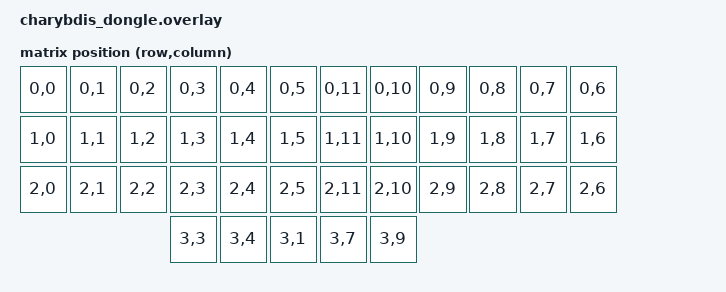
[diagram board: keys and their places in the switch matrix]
// Documentation: https://zmk.dev/docs/development/hardware-integration/dongle
#include <dt-bindings/zmk/matrix_transform.h>
#include "../../config/charybdis-layouts.dtsi"

&charybdis_physical_layout {
    transform = <&default_transform>;
};

/ {
    chosen {
        zmk,kscan           = &kscan0;
        zmk,physical-layout = &charybdis_physical_layout;
        zmk,input-device    = &trackball_split;
        zephyr,display      = &oled;
    };

    kscan0: kscan_1 {
        compatible = "zmk,kscan-mock";
        columns    = <0>;
        rows       = <0>;
        events     = <0>;
    };

    default_transform: keymap_transform_0 {
        compatible = "zmk,matrix-transform";
        columns = <12>;
        rows = <4>;

        map = <
	RC(0,0) RC(0,1) RC(0,2) RC(0,3) RC(0,4) RC(0,5)  RC(0,11) RC(0,10) RC(0,9) RC(0,8) RC(0,7) RC(0,6)
	RC(1,0) RC(1,1) RC(1,2) RC(1,3) RC(1,4) RC(1,5)  RC(1,11) RC(1,10) RC(1,9) RC(1,8) RC(1,7) RC(1,6)
	RC(2,0) RC(2,1) RC(2,2) RC(2,3) RC(2,4) RC(2,5)  RC(2,11) RC(2,10) RC(2,9) RC(2,8) RC(2,7) RC(2,6)
							RC(3,3) RC(3,4) RC(3,1)  RC(3,7)  RC(3,9)
        >;
    };

    central: bt_central {
        compatible = "zmk,ble-central";
        peripherals = <&left_peripheral &right_peripheral>;
    };

    left_peripheral: bt_left {
        compatible = "zmk,ble-peripheral";
        local-name = "charybdis_left";
    };

    right_peripheral: bt_right {
        compatible = "zmk,ble-peripheral";
        local-name = "charybdis_right";
    };

    /* The dongle is the central - it receives trackball data over BLE from the
       right peripheral via zmk,input-split. No SPI or PMW3610 hardware here. */
    split_inputs {
        #address-cells = <1>;
        #size-cells = <0>;

        trackball_split: trackball_split@0 {
            compatible = "zmk,input-split";
            reg = <0>;
        };
    };

    trackball_listener: trackball_listener {
        compatible = "zmk,input-listener";
        status = "disabled";
        device = <&trackball_split>;
    };
};

/* OLED SSD1306 0.96" 128x64 no i2c1 do XIAO BLE (D4=SDA/P0.04, D5=SCL/P0.05):
     VCC -> 3V3, GND -> GND, SDA -> D4, SCL -> D5. Addr 0x3C.
   Bus a 100kHz (default) — 400kHz sobre jumper wires fazia o init falhar.
   ready-time-ms=50 absorve o inrush do charge pump no boot.

   ⚠ HISTÓRICO (bug-024/025 no buglog): o display SÓ funciona com
   CONFIG_LV_COLOR_DEPTH_1 + CONFIG_LV_Z_BITS_PER_PIXEL=1 no .conf.
   Sem isso, o LVGL renderiza 16bpp num glue mono de 1bpp → overflow →
   hard fault → MCU inteiro congela (USB nem responde descriptor, teclado
   morre) e a tela fica em "estática" eterna. NÃO é problema do módulo,
   da fiação, nem do periférico I2C — bisseção completa documentada no
   buglog. Receita LVGL completa: ver seção Display no .conf. */
&i2c1 {
    status = "okay";

    oled: ssd1306@3c {
        compatible = "solomon,ssd1306fb";
        reg = <0x3c>;
        width = <128>;
        height = <64>;
        segment-offset = <0>;
        page-offset = <0>;
        display-offset = <0>;
        multiplex-ratio = <63>;
        prechargep = <0x22>;
        ready-time-ms = <50>;
        segment-remap;
        com-invdir;
    };
};

/* charybdis_pointer.dtsi references &trackball_listener - must come after node definition */
#include "../../config/trackball/charybdis_pointer.dtsi"

&trackball_split {
    status = "okay";
};

&trackball_listener {
    status = "okay";
};
